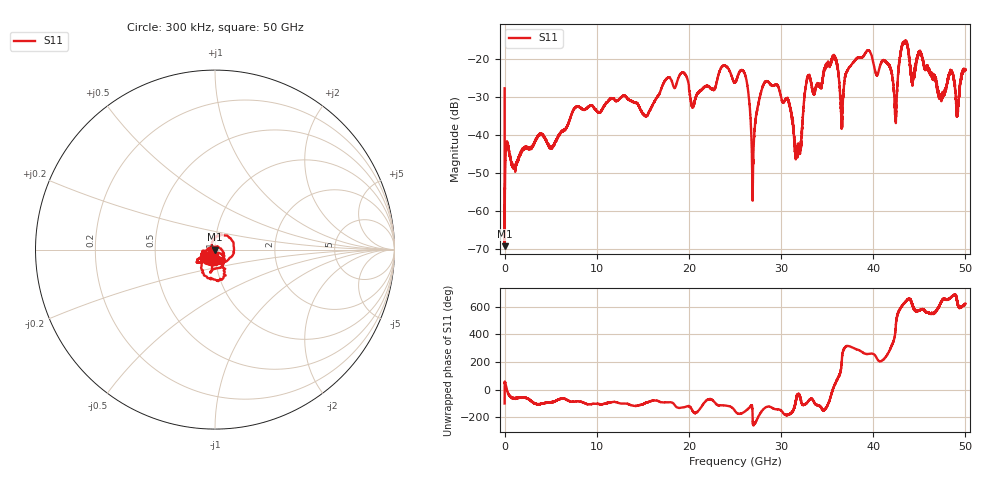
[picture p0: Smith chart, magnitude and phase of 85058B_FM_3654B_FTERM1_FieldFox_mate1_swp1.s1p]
!Created with skrf (http://scikit-rf.org).
# Hz S RI R 50.0
!freq ReS11 ImS11
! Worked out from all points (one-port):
!   10001 points, 300 kHz to 50 GHz, reference 50 ohm
!   lowest |S11| = -69.3 dB at 5.3 MHz (marker M1), VSWR 1.00, Z = 50 - j0.0205 ohm
!   |S11| at or under -10 dB: start of sweep to end of sweep
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300000  -0.00662 -0.0407
5299970  0.000273 -0.000205
9.95294e8  0.00188 -0.00344
6.250262e9  0.0049 -0.0101
1.250022e10  -0.00425 -0.0301
1.536521e10  -0.000789 -0.0176
1.875019e10  -0.033 -0.04
2.042518e10  -0.0212 -0.0103
2.370516e10  -0.0315 -0.0753
2.500015e10  -0.0438 -0.0215
2.613514e10  -0.0539 -0.0261
2.694514e10  -0.00138 0.00287
2.833513e10  -0.0309 -0.0405
3.125011e10  -0.0144 -0.00589
3.184011e10  0.00624 -0.00382
3.29351e10  0.00728 -0.0602
3.577009e10  0.0949 0.054
3.659508e10  -0.0132 -0.00981
3.750008e10  0.0539 -0.0594
4.134005e10  -0.0529 -0.0774
4.240505e10  0.0101 0.016
4.309004e10  -0.0701 -0.1265
4.375004e10  0.0632 -0.1249
4.422503e10  -0.0182 -0.0535
4.729502e10  -0.00353 -0.0326
4.849501e10  0.0465 -0.0518
4.912501e10  0.00146 -0.0204
5e10  -0.0108 -0.073
